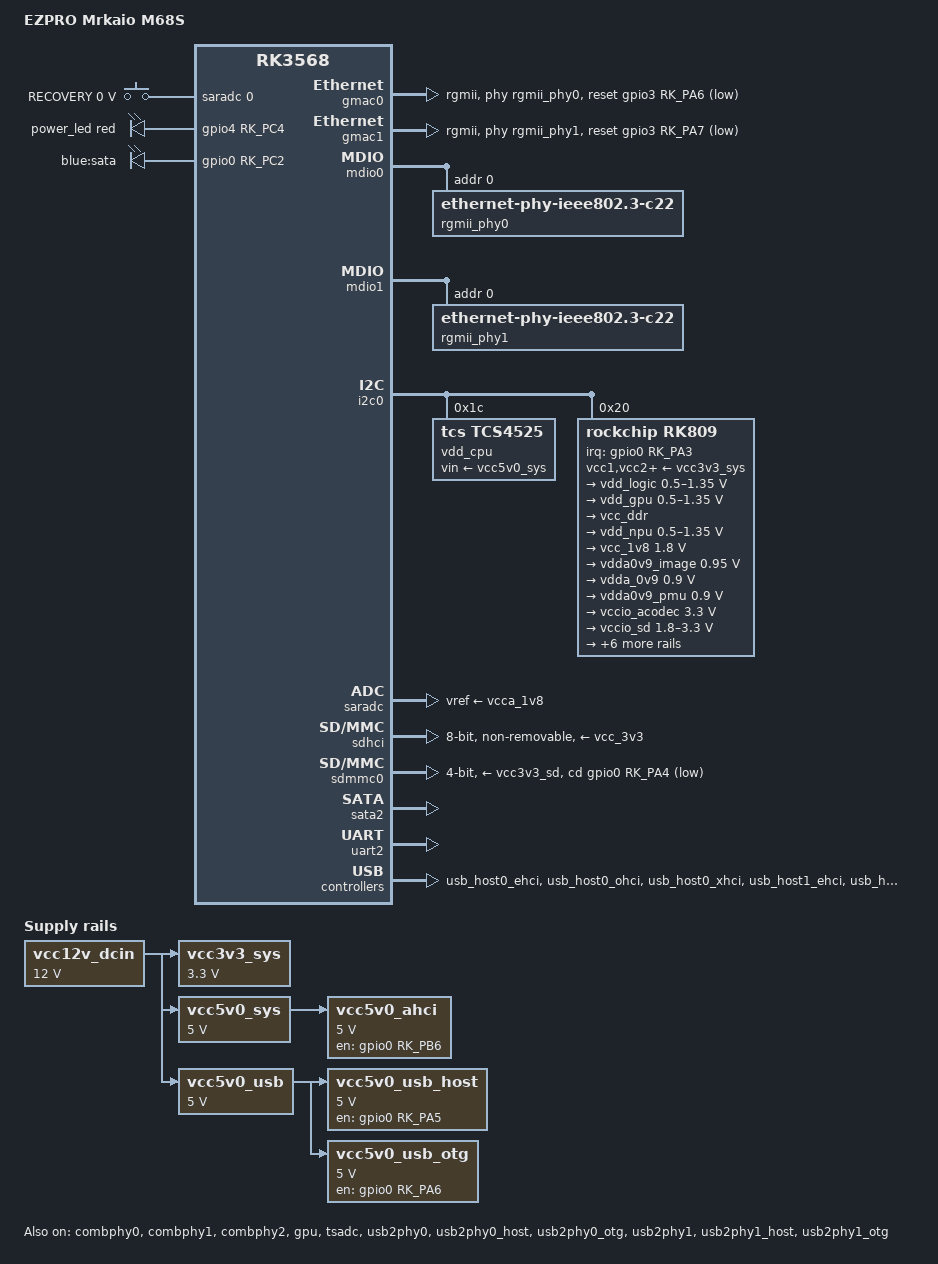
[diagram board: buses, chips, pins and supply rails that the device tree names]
// SPDX-License-Identifier: GPL-2.0-or-later OR MIT
// M68S mainline (Linux 6.6) DTS, ported from BSP 5.10 rk3568-mrkaio-m68s
// Base template adapted from rk3568-lyt-t68m.dts (same rk3568 NAS-class board)

/dts-v1/;
#include <dt-bindings/gpio/gpio.h>
#include <dt-bindings/input/input.h>
#include <dt-bindings/leds/common.h>
#include <dt-bindings/pinctrl/rockchip.h>
#include <dt-bindings/soc/rockchip,vop2.h>
#include <rockchip/rk3568.dtsi>

#include "rk3568-ip.dtsi"

#include "rk3568-ramoops.dtsi"

/ {
	model = "EZPRO Mrkaio M68S";
	compatible = "ezpro,mrkaio-m68s", "rockchip,rk3568";

	aliases {
		ethernet0 = &gmac0;
		ethernet1 = &gmac1;
		mmc0 = &sdhci;
		mmc1 = &sdmmc0;

		led-boot = &power_led;
		led-failsafe = &power_led;
		led-running = &power_led;
		led-upgrade = &power_led;
	};

	chosen: chosen {
		stdout-path = "serial2:1500000n8";
	};

	adc-keys {
		compatible = "adc-keys";
		io-channels = <&saradc 0>;
		io-channel-names = "buttons";
		keyup-threshold-microvolt = <1750000>;
		poll-interval = <100>;

		button-recovery {
			label = "RECOVERY";
			linux,code = <KEY_RESTART>;
			press-threshold-microvolt = <0>;
		};
	};

	gpio-leds {
		compatible = "gpio-leds";
		pinctrl-names = "default";
		pinctrl-0 = <&power_led_pin>, <&sata_led_pin>;

		power_led: led-power {
			color = <LED_COLOR_ID_RED>;
			function = LED_FUNCTION_POWER;
			gpios = <&gpio4 RK_PC4 GPIO_ACTIVE_HIGH>;
		};

		sata_led: led-sata {
			label = "blue:sata";
			gpios = <&gpio0 RK_PC2 GPIO_ACTIVE_HIGH>;
			linux,default-trigger = "disk-activity";
		};
	};

	vcc12v_dcin: vcc12v-dcin-regulator {
		compatible = "regulator-fixed";
		regulator-name = "vcc12v_dcin";
		regulator-always-on;
		regulator-boot-on;
		regulator-min-microvolt = <12000000>;
		regulator-max-microvolt = <12000000>;
	};

	vcc3v3_sys: vcc3v3-sys-regulator {
		compatible = "regulator-fixed";
		regulator-name = "vcc3v3_sys";
		regulator-always-on;
		regulator-boot-on;
		regulator-min-microvolt = <3300000>;
		regulator-max-microvolt = <3300000>;
		vin-supply = <&vcc12v_dcin>;
	};

	vcc5v0_sys: vcc5v0-sys-regulator {
		compatible = "regulator-fixed";
		regulator-name = "vcc5v0_sys";
		regulator-always-on;
		regulator-boot-on;
		regulator-min-microvolt = <5000000>;
		regulator-max-microvolt = <5000000>;
		vin-supply = <&vcc12v_dcin>;
	};

	vcc5v0_usb: vcc5v0-usb-regulator {
		compatible = "regulator-fixed";
		regulator-name = "vcc5v0_usb";
		regulator-always-on;
		regulator-boot-on;
		regulator-min-microvolt = <5000000>;
		regulator-max-microvolt = <5000000>;
		vin-supply = <&vcc12v_dcin>;
	};

	vcc5v0_usb_host: vcc5v0-usb-host-regulator {
		compatible = "regulator-fixed";
		enable-active-high;
		gpio = <&gpio0 RK_PA5 GPIO_ACTIVE_HIGH>;
		pinctrl-names = "default";
		pinctrl-0 = <&vcc5v0_usb_host_en>;
		regulator-name = "vcc5v0_usb_host";
		regulator-min-microvolt = <5000000>;
		regulator-max-microvolt = <5000000>;
		vin-supply = <&vcc5v0_usb>;
	};

	vcc5v0_usb_otg: vcc5v0-usb-otg-regulator {
		compatible = "regulator-fixed";
		enable-active-high;
		gpio = <&gpio0 RK_PA6 GPIO_ACTIVE_HIGH>;
		pinctrl-names = "default";
		pinctrl-0 = <&vcc5v0_usb_otg_en>;
		regulator-name = "vcc5v0_usb_otg";
		regulator-min-microvolt = <5000000>;
		regulator-max-microvolt = <5000000>;
		vin-supply = <&vcc5v0_usb>;
	};

	vcc5v0_ahci: vcc5v0-ahci-regulator {
		compatible = "regulator-fixed";
		enable-active-high;
		gpio = <&gpio0 RK_PB6 GPIO_ACTIVE_HIGH>;
		pinctrl-names = "default";
		pinctrl-0 = <&sata_pwr_en>;
		regulator-always-on;
		regulator-boot-on;
		regulator-min-microvolt = <5000000>;
		regulator-max-microvolt = <5000000>;
		regulator-name = "vcc5v0_ahci";
		vin-supply = <&vcc5v0_sys>;
	};
};

&combphy0 {
	status = "okay";
};

&combphy1 {
	status = "okay";
};

&combphy2 {
	status = "okay";
};

&cpu0 {
	cpu-supply = <&vdd_cpu>;
};

&cpu1 {
	cpu-supply = <&vdd_cpu>;
};

&cpu2 {
	cpu-supply = <&vdd_cpu>;
};

&cpu3 {
	cpu-supply = <&vdd_cpu>;
};

&gmac0 {
	assigned-clocks = <&cru SCLK_GMAC0_RX_TX>, <&cru SCLK_GMAC0>;
	assigned-clock-parents = <&cru SCLK_GMAC0_RGMII_SPEED>, <&cru CLK_MAC0_2TOP>;
	assigned-clock-rates = <0>, <125000000>;
	clock_in_out = "output";
	phy-mode = "rgmii";
	pinctrl-names = "default";
	pinctrl-0 = <&gmac0_miim
		     &gmac0_tx_bus2
		     &gmac0_rx_bus2
		     &gmac0_rgmii_clk
		     &gmac0_rgmii_bus>;
	snps,reset-gpio = <&gpio3 RK_PA6 GPIO_ACTIVE_LOW>;
	snps,reset-active-low;
	/* Reset time is 20ms, 100ms for rtl8211f */
	snps,reset-delays-us = <0 20000 100000>;
	tx_delay = <0x3c>;
	rx_delay = <0x2f>;
	phy-handle = <&rgmii_phy0>;
	status = "okay";
};

&gmac1 {
	assigned-clocks = <&cru SCLK_GMAC1_RX_TX>, <&cru SCLK_GMAC1>;
	assigned-clock-parents = <&cru SCLK_GMAC1_RGMII_SPEED>, <&cru CLK_MAC1_2TOP>;
	assigned-clock-rates = <0>, <125000000>;
	clock_in_out = "output";
	phy-mode = "rgmii";
	pinctrl-names = "default";
	pinctrl-0 = <&gmac1m1_miim
		     &gmac1m1_tx_bus2
		     &gmac1m1_rx_bus2
		     &gmac1m1_rgmii_clk
		     &gmac1m1_rgmii_bus>;
	snps,reset-gpio = <&gpio3 RK_PA7 GPIO_ACTIVE_LOW>;
	snps,reset-active-low;
	/* Reset time is 20ms, 100ms for rtl8211f */
	snps,reset-delays-us = <0 20000 100000>;
	tx_delay = <0x42>;
	rx_delay = <0x28>;
	phy-handle = <&rgmii_phy1>;
	status = "okay";
};

&gpu {
	mali-supply = <&vdd_gpu>;
	status = "okay";
};

&mdio0 {
	rgmii_phy0: ethernet-phy@0 {
		compatible = "ethernet-phy-ieee802.3-c22";
		reg = <0x0>;
	};
};

&mdio1 {
	rgmii_phy1: ethernet-phy@0 {
		compatible = "ethernet-phy-ieee802.3-c22";
		reg = <0x0>;
	};
};

&i2c0 {
	status = "okay";

	vdd_cpu: regulator@1c {
		compatible = "tcs,tcs4525";
		reg = <0x1c>;
		fcs,suspend-voltage-selector = <1>;
		regulator-name = "vdd_cpu";
		regulator-always-on;
		regulator-boot-on;
		regulator-min-microvolt = <800000>;
		regulator-max-microvolt = <1150000>;
		regulator-ramp-delay = <2300>;
		vin-supply = <&vcc5v0_sys>;

		regulator-state-mem {
			regulator-off-in-suspend;
		};
	};

	rk809: pmic@20 {
		compatible = "rockchip,rk809";
		reg = <0x20>;
		interrupt-parent = <&gpio0>;
		interrupts = <RK_PA3 IRQ_TYPE_LEVEL_LOW>;
		assigned-clocks = <&cru I2S1_MCLKOUT_TX>;
		assigned-clock-parents = <&cru CLK_I2S1_8CH_TX>;
		#clock-cells = <1>;
		clock-names = "mclk";
		clocks = <&cru I2S1_MCLKOUT_TX>;
		pinctrl-names = "default";
		pinctrl-0 = <&pmic_int>, <&i2s1m0_mclk>;
		system-power-controller;
		#sound-dai-cells = <0>;
		wakeup-source;

		vcc1-supply = <&vcc3v3_sys>;
		vcc2-supply = <&vcc3v3_sys>;
		vcc3-supply = <&vcc3v3_sys>;
		vcc4-supply = <&vcc3v3_sys>;
		vcc5-supply = <&vcc3v3_sys>;
		vcc6-supply = <&vcc3v3_sys>;
		vcc7-supply = <&vcc3v3_sys>;
		vcc8-supply = <&vcc3v3_sys>;
		vcc9-supply = <&vcc3v3_sys>;

		regulators {
			vdd_logic: DCDC_REG1 {
				regulator-name = "vdd_logic";
				regulator-always-on;
				regulator-boot-on;
				regulator-initial-mode = <0x2>;
				regulator-min-microvolt = <500000>;
				regulator-max-microvolt = <1350000>;
				regulator-ramp-delay = <6001>;

				regulator-state-mem {
					regulator-off-in-suspend;
				};
			};

			vdd_gpu: DCDC_REG2 {
				regulator-name = "vdd_gpu";
				regulator-always-on;
				regulator-initial-mode = <0x2>;
				regulator-min-microvolt = <500000>;
				regulator-max-microvolt = <1350000>;
				regulator-ramp-delay = <6001>;

				regulator-state-mem {
					regulator-off-in-suspend;
				};
			};

			vcc_ddr: DCDC_REG3 {
				regulator-name = "vcc_ddr";
				regulator-always-on;
				regulator-boot-on;
				regulator-initial-mode = <0x2>;

				regulator-state-mem {
					regulator-on-in-suspend;
				};
			};

			vdd_npu: DCDC_REG4 {
				regulator-name = "vdd_npu";
				regulator-initial-mode = <0x2>;
				regulator-min-microvolt = <500000>;
				regulator-max-microvolt = <1350000>;
				regulator-ramp-delay = <6001>;

				regulator-state-mem {
					regulator-off-in-suspend;
				};
			};

			vcc_1v8: DCDC_REG5 {
				regulator-name = "vcc_1v8";
				regulator-always-on;
				regulator-boot-on;
				regulator-min-microvolt = <1800000>;
				regulator-max-microvolt = <1800000>;

				regulator-state-mem {
					regulator-off-in-suspend;
				};
			};

			vdda0v9_image: LDO_REG1 {
				regulator-name = "vdda0v9_image";
				regulator-min-microvolt = <950000>;
				regulator-max-microvolt = <950000>;

				regulator-state-mem {
					regulator-off-in-suspend;
				};
			};

			vdda_0v9: LDO_REG2 {
				regulator-name = "vdda_0v9";
				regulator-always-on;
				regulator-boot-on;
				regulator-min-microvolt = <900000>;
				regulator-max-microvolt = <900000>;

				regulator-state-mem {
					regulator-off-in-suspend;
				};
			};

			vdda0v9_pmu: LDO_REG3 {
				regulator-name = "vdda0v9_pmu";
				regulator-always-on;
				regulator-boot-on;
				regulator-min-microvolt = <900000>;
				regulator-max-microvolt = <900000>;

				regulator-state-mem {
					regulator-on-in-suspend;
					regulator-suspend-microvolt = <900000>;
				};
			};

			vccio_acodec: LDO_REG4 {
				regulator-name = "vccio_acodec";
				regulator-always-on;
				regulator-min-microvolt = <3300000>;
				regulator-max-microvolt = <3300000>;

				regulator-state-mem {
					regulator-off-in-suspend;
				};
			};

			vccio_sd: LDO_REG5 {
				regulator-name = "vccio_sd";
				regulator-min-microvolt = <1800000>;
				regulator-max-microvolt = <3300000>;

				regulator-state-mem {
					regulator-off-in-suspend;
				};
			};

			vcc3v3_pmu: LDO_REG6 {
				regulator-name = "vcc3v3_pmu";
				regulator-always-on;
				regulator-boot-on;
				regulator-min-microvolt = <3300000>;
				regulator-max-microvolt = <3300000>;

				regulator-state-mem {
					regulator-on-in-suspend;
					regulator-suspend-microvolt = <3300000>;
				};
			};

			vcca_1v8: LDO_REG7 {
				regulator-name = "vcca_1v8";
				regulator-always-on;
				regulator-boot-on;
				regulator-min-microvolt = <1800000>;
				regulator-max-microvolt = <1800000>;

				regulator-state-mem {
					regulator-off-in-suspend;
				};
			};

			vcca1v8_pmu: LDO_REG8 {
				regulator-name = "vcca1v8_pmu";
				regulator-always-on;
				regulator-boot-on;
				regulator-min-microvolt = <1800000>;
				regulator-max-microvolt = <1800000>;

				regulator-state-mem {
					regulator-on-in-suspend;
					regulator-suspend-microvolt = <1800000>;
				};
			};

			vcca1v8_image: LDO_REG9 {
				regulator-name = "vcca1v8_image";
				regulator-min-microvolt = <1800000>;
				regulator-max-microvolt = <1800000>;

				regulator-state-mem {
					regulator-off-in-suspend;
				};
			};

			vcc_3v3: SWITCH_REG1 {
				regulator-name = "vcc_3v3";
				regulator-always-on;
				regulator-boot-on;

				regulator-state-mem {
					regulator-off-in-suspend;
				};
			};

			vcc3v3_sd: SWITCH_REG2 {
				regulator-name = "vcc3v3_sd";

				regulator-state-mem {
					regulator-off-in-suspend;
				};
			};
		};
	};
};

&pmu_io_domains {
	pmuio1-supply = <&vcc3v3_pmu>;
	pmuio2-supply = <&vcc3v3_pmu>;
	vccio1-supply = <&vccio_acodec>;
	vccio2-supply = <&vcc_1v8>;
	vccio3-supply = <&vccio_sd>;
	vccio4-supply = <&vcc_1v8>;
	vccio5-supply = <&vcc_3v3>;
	vccio6-supply = <&vcc_1v8>;
	vccio7-supply = <&vcc_3v3>;
	status = "okay";
};

&saradc {
	vref-supply = <&vcca_1v8>;
	status = "okay";
};

&sdhci {
	bus-width = <8>;
	max-frequency = <200000000>;
	non-removable;
	pinctrl-names = "default";
	pinctrl-0 = <&emmc_bus8 &emmc_clk &emmc_cmd &emmc_datastrobe>;
	vmmc-supply = <&vcc_3v3>;
	vqmmc-supply = <&vcc_1v8>;
	status = "okay";
};

&sdmmc0 {
	bus-width = <4>;
	cap-sd-highspeed;
	cd-gpios = <&gpio0 RK_PA4 GPIO_ACTIVE_LOW>;
	disable-wp;
	pinctrl-names = "default";
	pinctrl-0 = <&sdmmc0_bus4 &sdmmc0_clk &sdmmc0_cmd &sdmmc0_det>;
	sd-uhs-sdr50;
	vmmc-supply = <&vcc3v3_sd>;
	vqmmc-supply = <&vccio_sd>;
	status = "okay";
};

&sata2 {
	target-supply = <&vcc5v0_ahci>;
	status = "okay";
};

&tsadc {
	rockchip,hw-tshut-mode = <1>;
	rockchip,hw-tshut-polarity = <0>;
	status = "okay";
};

&uart2 {
	status = "okay";
};

&usb_host0_ehci {
	status = "okay";
};

&usb_host0_ohci {
	status = "okay";
};

&usb_host0_xhci {
	extcon = <&usb2phy0>;
	status = "okay";
};

&usb_host1_ehci {
	status = "okay";
};

&usb_host1_ohci {
	status = "okay";
};

&usb_host1_xhci {
	status = "okay";
};

&usb2phy0 {
	status = "okay";
};

&usb2phy0_host {
	phy-supply = <&vcc5v0_usb_host>;
	status = "okay";
};

&usb2phy0_otg {
	phy-supply = <&vcc5v0_usb_otg>;
	status = "okay";
};

&usb2phy1 {
	status = "okay";
};

&usb2phy1_host {
	phy-supply = <&vcc5v0_usb_host>;
	status = "okay";
};

&usb2phy1_otg {
	phy-supply = <&vcc5v0_usb_host>;
	status = "okay";
};

&pinctrl {
	leds {
		power_led_pin: power-led-pin {
			rockchip,pins = <4 RK_PC4 RK_FUNC_GPIO &pcfg_pull_none>;
		};

		sata_led_pin: sata-led-pin {
			rockchip,pins = <0 RK_PC2 RK_FUNC_GPIO &pcfg_pull_none>;
		};
	};

	pmic {
		pmic_int: pmic_int {
			rockchip,pins = <0 RK_PA3 RK_FUNC_GPIO &pcfg_pull_up>;
		};
	};

	sata {
		sata_pwr_en: sata-pwr-en {
			rockchip,pins = <0 RK_PB6 RK_FUNC_GPIO &pcfg_pull_none>;
		};
	};

	usb {
		vcc5v0_usb_host_en: vcc5v0-usb-host-en {
			rockchip,pins = <0 RK_PA5 RK_FUNC_GPIO &pcfg_pull_none>;
		};

		vcc5v0_usb_otg_en: vcc5v0-usb-otg-en {
			rockchip,pins = <0 RK_PA6 RK_FUNC_GPIO &pcfg_pull_none>;
		};
	};
};

#include "rk3568-ip-rk809.dtsi"
